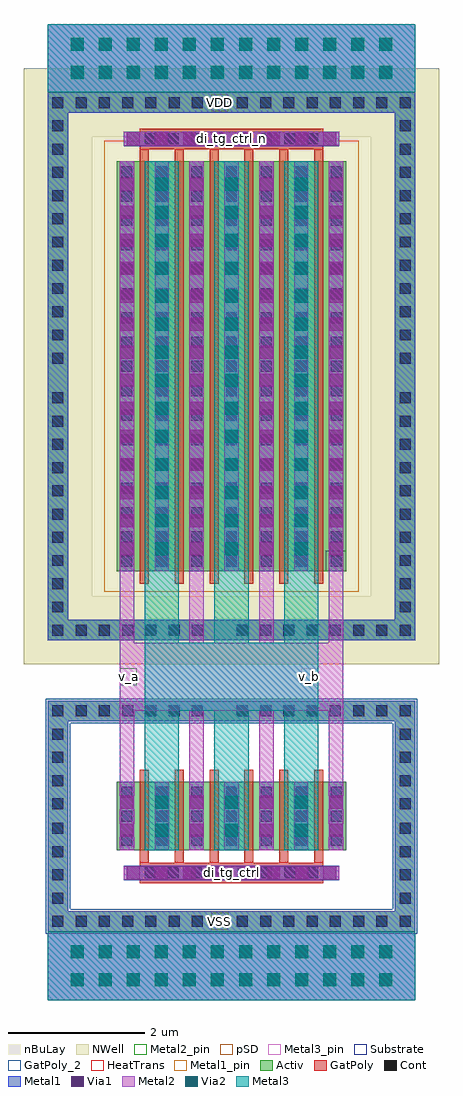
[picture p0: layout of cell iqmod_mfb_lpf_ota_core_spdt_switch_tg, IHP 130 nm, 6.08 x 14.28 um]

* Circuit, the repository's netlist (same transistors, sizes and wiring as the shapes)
* Extracted by KLayout with SG13G2 LVS runset on : 27/03/2026 17:40

.SUBCKT iqmod_mfb_lpf_ota_core_spdt_switch_tg VSS di_tg_ctrl v_a v_b VDD
+ di_tg_ctrl_n
M$1 v_a di_tg_ctrl v_b \$1 sg13_lv_nmos L=0.13u W=6u AS=1.29p AD=1.29p PS=9.58u
+ PD=9.58u rfmode=0
M$7 v_a di_tg_ctrl_n v_b \$8 sg13_lv_pmos L=0.13u W=36u AS=7.74p AD=7.74p
+ PS=44.58u PD=44.58u rfmode=0
R$13 VDD \$8 ntap1 A=7.68p P=51.2u
R$14 VSS \$1 ptap1 A=4.896p P=32.64u
.ENDS iqmod_mfb_lpf_ota_core_spdt_switch_tg

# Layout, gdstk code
from math import pi, radians
import gdstk
lib = gdstk.Library(unit=1e-6, precision=5e-09)
def R(c, l, rs):  # rectangles x0, y0, x1, y1
    for r in rs: c.add(gdstk.rectangle(r[:2], r[2:], *l))
def A(c, l, x, y, w, h, nx, ny, dx, dy):  # array of equal rectangles
    R(c, l, [(x+i*dx, y+j*dy, x+i*dx+w, y+j*dy+h) for i in range(nx) for j in range(ny)])
def P(c, l, *ps):  # polygons
    for p in ps: c.add(gdstk.Polygon(p, *l))
Activ = (1, 0)
GatPoly = (5, 0)
GatPoly_2 = (5, 2)
Cont = (6, 0)
Metal1 = (8, 0)
Metal1_pin = (8, 2)
Metal2 = (10, 0)
Metal2_pin = (10, 2)
pSD = (14, 0)
Via1 = (19, 0)
Via2 = (29, 0)
Metal3 = (30, 0)
Metal3_pin = (30, 2)
NWell = (31, 0)
nBuLay = (32, 0)
Substrate = (40, 0)
HeatTrans = (51, 0)

pmos = lib.new_cell('pmos')
A(pmos, Activ, 0, 0, 0.3, 0.3, 7, 1, 0.51, 0)
R(pmos, Activ, [(-1.01,-0.71,-0.71,6.71), (4.07,-0.71,4.37,6.71), (0,0,3.36,6), (-1.01,6.71,4.37,7.01)])
P(pmos, Activ, [(-1.01,-1.01),(-1.01,6.71),(-0.71,6.71),(-0.71,-0.71),(4.07,-0.71),(4.07,6.71),(-1.01,6.71),(-1.01,7.01),(4.37,7.01),(4.37,-1.01)])
A(pmos, GatPoly, 0.34, -0.18, 0.13, 6.36, 6, 1, 0.51, 0)
R(pmos, GatPoly, [(0.34,-0.18,0.47,6.18)])
A(pmos, Cont, -0.94, -0.94, 0.16, 0.16, 7, 2, 0.34, 7.72)
A(pmos, Cont, 1.76, -0.94, 0.16, 0.16, 8, 2, 0.34, 7.72)
A(pmos, Cont, -0.94, -0.6, 0.16, 0.16, 1, 10, 0, 0.34)
A(pmos, Cont, 4.14, -0.6, 0.16, 0.16, 1, 10, 0, 0.34)
A(pmos, Cont, 0.07, 0.07, 0.16, 0.16, 7, 4, 0.51, 0.355)
A(pmos, Cont, 0.07, 1.495, 0.16, 0.16, 7, 4, 0.51, 0.355)
A(pmos, Cont, 0.07, 2.92, 0.16, 0.16, 7, 4, 0.51, 0.355)
A(pmos, Cont, -0.94, 3.04, 0.16, 0.16, 1, 11, 0, 0.34)
A(pmos, Cont, 4.14, 3.04, 0.16, 0.16, 1, 11, 0, 0.34)
A(pmos, Cont, 0.07, 4.345, 0.16, 0.16, 7, 4, 0.51, 0.355)
A(pmos, Cont, 0.07, 5.77, 0.16, 0.16, 7, 1, 0.51, 0)
A(pmos, Metal1, 0.58, 0, 0.16, 6, 6, 1, 0.51, 0)
R(pmos, Metal1, [(-1.01,-1.01,4.37,-0.71), (-1.01,-0.71,-0.71,6.71), (4.07,-0.71,4.37,6.71), (0.07,0,0.23,6), (0.07,0,0.23,6), (0.58,0,0.74,6), (-1.01,6.71,4.37,7.01)])
R(pmos, pSD, [(-0.18,-0.3,3.54,6.3)])
R(pmos, NWell, [(-1.36,-1.36,4.72,7.36), (-0.31,-0.31,3.67,6.31)])
R(pmos, nBuLay, [(-1.36,-0.36,-0.36,6.36), (3.72,-0.36,4.72,6.36), (-1.36,6.36,4.72,7.36)])
P(pmos, nBuLay, [(-1.36,-1.36),(-1.36,6.36),(-0.36,6.36),(-0.36,-0.36),(3.72,-0.36),(3.72,6.36),(-1.36,6.36),(-1.36,7.36),(4.72,7.36),(4.72,-1.36)])
R(pmos, Substrate, [(3.06,0,3.36,0.3)])
A(pmos, HeatTrans, 0.34, -0.18, 0.13, 6.36, 6, 1, 0.51, 0)
pmos.add(gdstk.Label('pmos', (0.405,3), layer=63, texttype=0))
pmos.add(gdstk.Label('well', (1.68,-0.86), layer=63, texttype=0))
pmos.add(gdstk.Label('pmos', (0.405,3), layer=51, texttype=0))
pmos.add(gdstk.Label('pmos', (0.915,3), layer=51, texttype=0))
pmos.add(gdstk.Label('pmos', (1.425,3), layer=51, texttype=0))
pmos.add(gdstk.Label('pmos', (1.935,3), layer=51, texttype=0))
pmos.add(gdstk.Label('pmos', (2.445,3), layer=51, texttype=0))
pmos.add(gdstk.Label('pmos', (2.955,3), layer=51, texttype=0))

nmos_1 = lib.new_cell('nmos$1')
A(nmos_1, Activ, 0, 0, 0.3, 0.3, 7, 1, 0.51, 0)
R(nmos_1, Activ, [(-1.01,-0.89,-0.71,1.89), (4.07,-0.89,4.37,1.89), (0,0,3.36,1), (-1.01,1.89,4.37,2.19)])
P(nmos_1, Activ, [(-1.01,-1.19),(-1.01,1.89),(-0.71,1.89),(-0.71,-0.89),(4.07,-0.89),(4.07,1.89),(-1.01,1.89),(-1.01,2.19),(4.37,2.19),(4.37,-1.19)])
A(nmos_1, GatPoly, 0.34, -0.18, 0.13, 1.36, 6, 1, 0.51, 0)
R(nmos_1, GatPoly_2, [(0.34,-0.18,0.47,1.18)])
A(nmos_1, Cont, -0.94, -1.12, 0.16, 0.16, 7, 2, 0.34, 3.08)
A(nmos_1, Cont, 1.76, -1.12, 0.16, 0.16, 8, 2, 0.34, 3.08)
A(nmos_1, Cont, -0.94, -0.78, 0.16, 0.16, 1, 4, 0, 0.34)
A(nmos_1, Cont, 4.14, -0.78, 0.16, 0.16, 1, 4, 0, 0.34)
A(nmos_1, Cont, 0.07, 0.07, 0.16, 0.16, 7, 3, 0.51, 0.35)
A(nmos_1, Cont, -0.94, 0.6, 0.16, 0.16, 1, 4, 0, 0.34)
A(nmos_1, Cont, 4.14, 0.6, 0.16, 0.16, 1, 4, 0, 0.34)
A(nmos_1, Metal1, 0.07, 0, 0.16, 1, 7, 1, 0.51, 0)
R(nmos_1, Metal1, [(-1.01,-1.19,4.37,-0.89), (-1.01,-0.89,-0.71,1.89), (4.07,-0.89,4.37,1.89), (-1.01,1.89,4.37,2.19)])
R(nmos_1, Metal1_pin, [(0.07,0,0.23,1), (0.58,0,0.74,1)])
R(nmos_1, pSD, [(-1.04,-0.86,-0.68,1.86), (4.04,-0.86,4.4,1.86), (-1.04,1.86,4.4,2.22)])
P(nmos_1, pSD, [(-1.04,-1.22),(-1.04,1.86),(-0.68,1.86),(-0.68,-0.86),(4.04,-0.86),(4.04,1.86),(-1.04,1.86),(-1.04,2.22),(4.4,2.22),(4.4,-1.22)])
R(nmos_1, Substrate, [(-1.04,-0.86,-0.68,1.86), (4.04,-0.86,4.4,1.86), (-1.04,1.86,4.4,2.22)])
P(nmos_1, Substrate, [(-1.04,-1.22),(-1.04,1.86),(-0.68,1.86),(-0.68,-0.86),(4.04,-0.86),(4.04,1.86),(-1.04,1.86),(-1.04,2.22),(4.4,2.22),(4.4,-1.22)])
A(nmos_1, HeatTrans, 0.34, -0.18, 0.13, 1.36, 6, 1, 0.51, 0)
nmos_1.add(gdstk.Label('nmos', (0.405,0.5), layer=63, texttype=0))
nmos_1.add(gdstk.Label('sub!', (1.68,-1.04), layer=63, texttype=0))
nmos_1.add(gdstk.Label('nmos', (0.405,0.5), layer=51, texttype=0))
nmos_1.add(gdstk.Label('nmos', (0.915,0.5), layer=51, texttype=0))
nmos_1.add(gdstk.Label('nmos', (1.425,0.5), layer=51, texttype=0))
nmos_1.add(gdstk.Label('nmos', (1.935,0.5), layer=51, texttype=0))
nmos_1.add(gdstk.Label('nmos', (2.445,0.5), layer=51, texttype=0))
nmos_1.add(gdstk.Label('nmos', (2.955,0.5), layer=51, texttype=0))

via_stack_4 = lib.new_cell('via_stack$4')
R(via_stack_4, Metal1, [(-0.105,-0.35,0.105,0.35)])
R(via_stack_4, Metal2, [(-0.1,-0.35,0.1,0.35)])
R(via_stack_4, Via1, [(-0.095,-0.3,0.095,-0.11), (-0.095,0.11,0.095,0.3)])

via_stack = lib.new_cell('via_stack')
R(via_stack, GatPoly, [(-1.34,-0.15,1.34,0.15)])
A(via_stack, Cont, -1.27, -0.08, 0.16, 0.16, 8, 1, 0.34, 0)
R(via_stack, Metal1, [(-1.58,-0.105,1.58,0.105)])
R(via_stack, Metal2, [(-1.58,-0.1,1.58,0.1)])
A(via_stack, Via1, -1.53, -0.095, 0.19, 0.19, 8, 1, 0.41, 0)

via_stack_3 = lib.new_cell('via_stack$3')
R(via_stack_3, Metal1, [(-0.105,-0.35,0.105,0.35)])
R(via_stack_3, Metal2, [(-0.1,-0.35,0.1,0.35)])
R(via_stack_3, Via1, [(-0.095,-0.3,0.095,-0.11), (-0.095,0.11,0.095,0.3)])
R(via_stack_3, Via2, [(-0.095,-0.3,0.095,-0.11), (-0.095,0.11,0.095,0.3)])
R(via_stack_3, Metal3, [(-0.1,-0.35,0.1,0.35)])

via_stack_7 = lib.new_cell('via_stack$7')
R(via_stack_7, Metal1, [(-2.4,-0.31,2.4,0.31)])
R(via_stack_7, Metal2, [(-2.4,-0.305,2.4,0.305)])
A(via_stack_7, Via1, -2.35, -0.3, 0.19, 0.19, 12, 2, 0.41, 0.41)
A(via_stack_7, Via2, -2.35, -0.3, 0.19, 0.19, 12, 2, 0.41, 0.41)
R(via_stack_7, Metal3, [(-2.4,-0.305,2.4,0.305)])

via_stack_5 = lib.new_cell('via_stack$5')
R(via_stack_5, Metal1, [(-0.105,-2.81,0.105,2.81)])
R(via_stack_5, Metal2, [(-0.1,-2.81,0.1,2.81)])
A(via_stack_5, Via1, -0.095, -2.76, 0.19, 0.19, 1, 14, 0, 0.41)
A(via_stack_5, Via2, -0.095, -2.76, 0.19, 0.19, 1, 14, 0, 0.41)
R(via_stack_5, Metal3, [(-0.1,-2.81,0.1,2.81)])

via_stack_6 = lib.new_cell('via_stack$6')
R(via_stack_6, Metal1, [(-0.105,-2.81,0.105,2.81)])
R(via_stack_6, Metal2, [(-0.1,-2.81,0.1,2.81)])
A(via_stack_6, Via1, -0.095, -2.76, 0.19, 0.19, 1, 14, 0, 0.41)

iqmod_mfb_lpf_ota_core_s = lib.new_cell('iqmod_mfb_lpf_ota_core_spdt_switch_tg')
A(iqmod_mfb_lpf_ota_core_s, Metal1, 2.425, 2.19, 0.21, 1, 3, 1, 0.51, 0)
A(iqmod_mfb_lpf_ota_core_s, Metal1, 3.445, 2.19, 0.21, 1, 3, 1, 0.51, 0)
A(iqmod_mfb_lpf_ota_core_s, Metal1, 1.405, 6.27, 0.21, 6, 7, 1, 0.51, 0)
R(iqmod_mfb_lpf_ota_core_s, Metal1, [(0.35,0,5.73,1), (2.62,1,3.12,1.3), (1.405,2.19,1.615,3.19), (1.405,2.19,1.615,3.19), (1.915,2.19,2.125,3.19), (1.915,2.19,2.125,3.19), (2.425,2.19,2.635,3.19), (4.465,2.19,4.675,3.19), (2.62,12.98,3.12,13.28), (0.35,13.28,5.73,14.28)])
R(iqmod_mfb_lpf_ota_core_s, Metal1_pin, [(2.745,1.025,2.995,1.275), (2.745,13.005,2.995,13.255)])
A(iqmod_mfb_lpf_ota_core_s, Metal2, 1.405, 2.19, 0.21, 1, 7, 1, 0.51, 0)
A(iqmod_mfb_lpf_ota_core_s, Metal2, 1.405, 3.19, 0.21, 3.08, 4, 1, 1.02, 0)
A(iqmod_mfb_lpf_ota_core_s, Metal2, 1.405, 6.27, 0.21, 6, 7, 1, 0.51, 0)
R(iqmod_mfb_lpf_ota_core_s, Metal2, [(0.35,0,5.73,1), (2.93,1.76,3.15,1.96), (1.405,4.23,3.655,5.23), (1.405,4.23,4.675,5.23), (2.93,12.5,3.15,12.7), (0.35,13.28,5.73,14.28)])
R(iqmod_mfb_lpf_ota_core_s, Metal2_pin, [(2.965,1.785,3.115,1.935), (1.405,4.605,1.655,4.855), (2.965,12.525,3.115,12.675)])
A(iqmod_mfb_lpf_ota_core_s, Metal3, 1.77, 2.19, 0.5, 10.08, 3, 1, 1.02, 0)
A(iqmod_mfb_lpf_ota_core_s, Metal3, 1.915, 2.19, 0.21, 1, 3, 1, 1.02, 0)
A(iqmod_mfb_lpf_ota_core_s, Metal3, 1.915, 6.27, 0.21, 6, 3, 1, 1.02, 0)
R(iqmod_mfb_lpf_ota_core_s, Metal3, [(0.35,0,5.73,1), (1.77,4.23,4.31,5.23), (0.35,13.28,5.73,14.28)])
R(iqmod_mfb_lpf_ota_core_s, Metal3_pin, [(4.06,4.605,4.31,4.855)])
iqmod_mfb_lpf_ota_core_s.add(gdstk.Reference(pmos, (1.36,6.27)))
iqmod_mfb_lpf_ota_core_s.add(gdstk.Reference(nmos_1, (1.36,2.19)))
iqmod_mfb_lpf_ota_core_s.add(gdstk.Reference(via_stack_4, (1.51,2.69)))
iqmod_mfb_lpf_ota_core_s.add(gdstk.Reference(via_stack, (3.04,1.86)))
iqmod_mfb_lpf_ota_core_s.add(gdstk.Reference(via_stack_3, (2.02,2.69)))
iqmod_mfb_lpf_ota_core_s.add(gdstk.Reference(via_stack_3, (3.04,2.69)))
iqmod_mfb_lpf_ota_core_s.add(gdstk.Reference(via_stack_3, (4.06,2.69)))
iqmod_mfb_lpf_ota_core_s.add(gdstk.Reference(via_stack_4, (2.53,2.69)))
iqmod_mfb_lpf_ota_core_s.add(gdstk.Reference(via_stack_4, (3.55,2.69)))
iqmod_mfb_lpf_ota_core_s.add(gdstk.Reference(via_stack_4, (4.57,2.69)))
iqmod_mfb_lpf_ota_core_s.add(gdstk.Reference(via_stack_7, (3.04,13.78)))
iqmod_mfb_lpf_ota_core_s.add(gdstk.Reference(via_stack_7, (3.04,0.5)))
iqmod_mfb_lpf_ota_core_s.add(gdstk.Reference(via_stack, (3.04,12.6)))
iqmod_mfb_lpf_ota_core_s.add(gdstk.Reference(via_stack_5, (4.06,9.27)))
iqmod_mfb_lpf_ota_core_s.add(gdstk.Reference(via_stack_6, (1.51,9.27)))
iqmod_mfb_lpf_ota_core_s.add(gdstk.Reference(via_stack_6, (3.55,9.27), rotation=pi, x_reflection=True))
iqmod_mfb_lpf_ota_core_s.add(gdstk.Reference(via_stack_6, (2.53,9.27)))
iqmod_mfb_lpf_ota_core_s.add(gdstk.Reference(via_stack_6, (4.57,9.27), rotation=pi, x_reflection=True))
iqmod_mfb_lpf_ota_core_s.add(gdstk.Reference(via_stack_5, (3.04,9.27)))
iqmod_mfb_lpf_ota_core_s.add(gdstk.Reference(via_stack_5, (2.02,9.27)))
iqmod_mfb_lpf_ota_core_s.add(gdstk.Label('di_tg_ctrl_n', (3.04,12.6), layer=10, texttype=25))
iqmod_mfb_lpf_ota_core_s.add(gdstk.Label('v_a', (1.53,4.73), layer=10, texttype=25))
iqmod_mfb_lpf_ota_core_s.add(gdstk.Label('di_tg_ctrl', (3.04,1.86), layer=10, texttype=25))
iqmod_mfb_lpf_ota_core_s.add(gdstk.Label('VDD', (2.87,13.13), layer=8, texttype=25))
iqmod_mfb_lpf_ota_core_s.add(gdstk.Label('VSS', (2.87,1.15), layer=8, texttype=25))
iqmod_mfb_lpf_ota_core_s.add(gdstk.Label('v_b', (4.185,4.73), layer=30, texttype=25))

lib.write_gds('iqmod_mfb_lpf_ota_core_spdt_switch_tg.gds')
